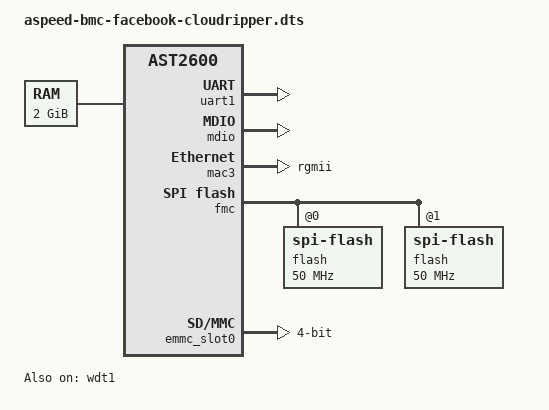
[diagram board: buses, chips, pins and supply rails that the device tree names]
// SPDX-License-Identifier: GPL-2.0+
/*
 * Copyright (c) 2020 Facebook Inc.
 */

/dts-v1/;

#include "ast2600-u-boot.dtsi"

/ {
	memory {
		device_type = "memory";
		reg = <0x80000000 0x80000000>;
	};

	chosen {
		stdout-path = &uart1;
	};

	aliases {
		spi0 = &fmc;
		ethernet1 = &mac1;
	};

	cpus {
		cpu@0 {
			clock-frequency = <800000000>;
		};
		cpu@1 {
			clock-frequency = <800000000>;
		};
	};
};

&uart1 {
	u-boot,dm-pre-reloc;
	status = "okay";
};

&wdt1 {
	u-boot,dm-pre-reloc;
	status = "okay";
};

&mdio {
	status = "okay";
};

&mac3 {
	status = "okay";

	phy-mode = "rgmii";
	pinctrl-names = "default";
	pinctrl-0 = <&pinctrl_mac4link_default &pinctrl_mdio2_default>;
};

&fmc {
	status = "okay";

	flash@0 {
		compatible = "spi-flash", "sst,w25q256";
		status = "okay";
		spi-max-frequency = <50000000>;
		spi-tx-bus-width = <2>;
		spi-rx-bus-width = <2>;
	};

	flash@1 {
		compatible = "spi-flash", "sst,w25q256";
		status = "okay";
		spi-max-frequency = <50000000>;
		spi-tx-bus-width = <2>;
		spi-rx-bus-width = <2>;
	};
};

&sdrammc {
	clock-frequency = <400000000>;
};

&emmc_slot0 {
	status = "okay";
	bus-width = <4>;
	pinctrl-names = "default";
	pinctrl-0 = <&pinctrl_emmc_default>;
};
